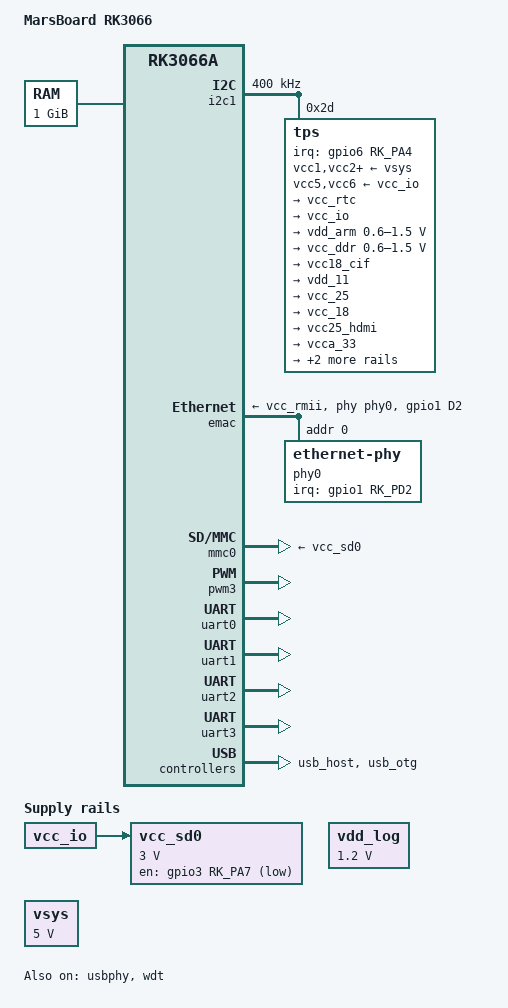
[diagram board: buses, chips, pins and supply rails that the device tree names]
// SPDX-License-Identifier: (GPL-2.0+ OR MIT)
/*
 * Copyright (c) 2014 Romain Perier <romain.perier@gmail.com>
 */

/dts-v1/;
#include "rk3066a.dtsi"

/ {
	model = "MarsBoard RK3066";
	compatible = "haoyu,marsboard-rk3066", "rockchip,rk3066a";

	memory@60000000 {
		device_type = "memory";
		reg = <0x60000000 0x40000000>;
	};

	vdd_log: vdd-log {
		compatible = "pwm-regulator";
		pwms = <&pwm3 0 1000>;
		regulator-name = "vdd_log";
		regulator-min-microvolt = <1200000>;
		regulator-max-microvolt = <1200000>;
		regulator-always-on;
		voltage-table = <1000000 100>,
				<1200000 42>;
		status = "okay";
	};

	vcc_sd0: sdmmc-regulator {
		compatible = "regulator-fixed";
		regulator-name = "sdmmc-supply";
		regulator-min-microvolt = <3000000>;
		regulator-max-microvolt = <3000000>;
		gpio = <&gpio3 RK_PA7 GPIO_ACTIVE_LOW>;
		startup-delay-us = <100000>;
		vin-supply = <&vcc_io>;
	};

	vsys: vsys-regulator {
		compatible = "regulator-fixed";
		regulator-name = "vsys";
		regulator-min-microvolt = <5000000>;
		regulator-max-microvolt = <5000000>;
		regulator-boot-on;
	};
};

&cpu0 {
	cpu0-supply = <&vdd_arm>;
};

&i2c1 {
	status = "okay";
	clock-frequency = <400000>;

	tps: tps@2d {
		reg = <0x2d>;

		interrupt-parent = <&gpio6>;
		interrupts = <RK_PA4 IRQ_TYPE_LEVEL_LOW>;

		vcc1-supply = <&vsys>;
		vcc2-supply = <&vsys>;
		vcc3-supply = <&vsys>;
		vcc4-supply = <&vsys>;
		vcc5-supply = <&vcc_io>;
		vcc6-supply = <&vcc_io>;
		vcc7-supply = <&vsys>;
		vccio-supply = <&vsys>;

		regulators {
			vcc_rtc: regulator@0 {
				regulator-name = "vcc_rtc";
				regulator-always-on;
			};

			vcc_io: regulator@1 {
				regulator-name = "vcc_io";
				regulator-always-on;
			};

			vdd_arm: regulator@2 {
				regulator-name = "vdd_arm";
				regulator-min-microvolt = <600000>;
				regulator-max-microvolt = <1500000>;
				regulator-boot-on;
				regulator-always-on;
			};

			vcc_ddr: regulator@3 {
				regulator-name = "vcc_ddr";
				regulator-min-microvolt = <600000>;
				regulator-max-microvolt = <1500000>;
				regulator-boot-on;
				regulator-always-on;
			};

			vcc18_cif: regulator@5 {
				regulator-name = "vcc18_cif";
				regulator-always-on;
			};

			vdd_11: regulator@6 {
				regulator-name = "vdd_11";
				regulator-always-on;
			};

			vcc_25: regulator@7 {
				regulator-name = "vcc_25";
				regulator-always-on;
			};

			vcc_18: regulator@8 {
				regulator-name = "vcc_18";
				regulator-always-on;
			};

			vcc25_hdmi: regulator@9 {
				regulator-name = "vcc25_hdmi";
				regulator-always-on;
			};

			vcca_33: regulator@10 {
				regulator-name = "vcca_33";
				regulator-always-on;
			};

			vcc_rmii: regulator@11 {
				regulator-name = "vcc_rmii";
			};

			vcc28_cif: regulator@12 {
				regulator-name = "vcc28_cif";
				regulator-always-on;
			};
		};
	};
};

/* must be included after &tps gets defined */
#include "tps65910.dtsi"

&emac {
	status = "okay";

	phy = <&phy0>;
	phy-supply = <&vcc_rmii>;

	pinctrl-names = "default";
	pinctrl-0 = <&emac_xfer>, <&emac_mdio>, <&phy_int>;

	phy0: ethernet-phy@0 {
		reg = <0>;
		interrupt-parent = <&gpio1>;
		interrupts = <RK_PD2 IRQ_TYPE_LEVEL_LOW>;
	};
};

&mmc0 {
	status = "okay";

	pinctrl-names = "default";
	pinctrl-0 = <&sd0_clk>, <&sd0_cmd>, <&sd0_cd>, <&sd0_bus4>;
	vmmc-supply = <&vcc_sd0>;
};

&pinctrl {
	lan8720a {
		phy_int: phy-int {
			rockchip,pins = <1 RK_PD2 RK_FUNC_GPIO &pcfg_pull_none>;
		};
	};
};

&pwm3 {
	status = "okay";
};

&uart0 {
	status = "okay";
};

&uart1 {
	status = "okay";
};

&uart2 {
	status = "okay";
};

&uart3 {
	status = "okay";
};

&usbphy {
	status = "okay";
};

&usb_host {
	status = "okay";
};

&usb_otg {
	status = "okay";
};

&wdt {
	status = "okay";
};
